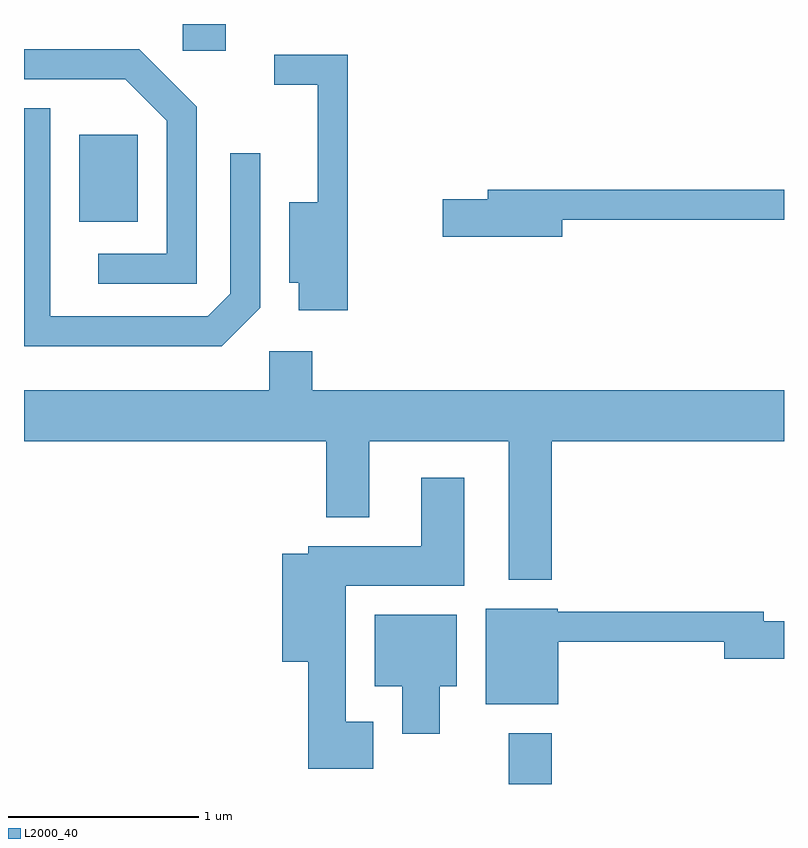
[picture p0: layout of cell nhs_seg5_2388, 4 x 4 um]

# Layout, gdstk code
import gdstk
lib = gdstk.Library(unit=1e-6, precision=1e-09)
def R(c, l, rs):  # rectangles x0, y0, x1, y1
    for r in rs: c.add(gdstk.rectangle(r[:2], r[2:], *l))
def P(c, l, *ps):  # polygons
    for p in ps: c.add(gdstk.Polygon(p, *l))
L2000_40 = (2000, 40)

nhs_seg5_2388 = lib.new_cell('nhs_seg5_2388')
R(nhs_seg5_2388, L2000_40, [(258.161,1486.072,258.389,1486.339), (255.901,1489.031,256.209,1489.489), (256.446,1489.931,256.674,1490.072)])
P(nhs_seg5_2388, L2000_40, [(256.519,1489.637),(256.217,1489.939),(255.611,1489.939),(255.611,1489.781),(256.144,1489.781),(256.361,1489.564),(256.361,1488.864),(256.003,1488.864),(256.003,1488.706),(256.519,1488.706)],
  [(257.314,1489.909),(256.928,1489.909),(256.928,1489.751),(257.156,1489.751),(257.156,1489.134),(257.006,1489.134),(257.006,1488.711),(257.056,1488.711),(257.056,1488.566),(257.314,1488.566)],
  [(256.854,1488.579),(256.854,1489.393),(256.696,1489.393),(256.696,1488.652),(256.579,1488.534),(255.749,1488.534),(255.749,1489.629),(255.611,1489.629),(255.611,1488.376),(256.652,1488.376)],
  [(258.444,1489.041),(259.611,1489.041),(259.611,1489.199),(258.051,1489.199),(258.051,1489.149),(257.816,1489.149),(257.816,1488.951),(258.444,1488.951)],
  [(258.389,1487.876),(259.611,1487.876),(259.611,1488.144),(257.129,1488.144),(257.129,1488.349),(256.901,1488.349),(256.901,1488.144),(255.611,1488.144),(255.611,1487.876),(257.201,1487.876),(257.201,1487.476),(257.429,1487.476),(257.429,1487.876),(258.161,1487.876),(258.161,1487.146),(258.389,1487.146)],
  [(257.449,1486.399),(257.304,1486.399),(257.304,1487.116),(257.929,1487.116),(257.929,1487.684),(257.701,1487.684),(257.701,1487.324),(257.106,1487.324),(257.106,1487.284),(256.971,1487.284),(256.971,1486.716),(257.106,1486.716),(257.106,1486.151),(257.449,1486.151)],
  [(258.424,1486.821),(259.296,1486.821),(259.296,1486.731),(259.611,1486.731),(259.611,1486.929),(259.504,1486.929),(259.504,1486.979),(258.42,1486.979),(258.42,1486.994),(258.041,1486.994),(258.041,1486.491),(258.424,1486.491)],
  [(257.799,1486.586),(257.889,1486.586),(257.889,1486.964),(257.456,1486.964),(257.456,1486.586),(257.601,1486.586),(257.601,1486.336),(257.799,1486.336)])

lib.write_gds('nhs_seg5_2388.gds')
